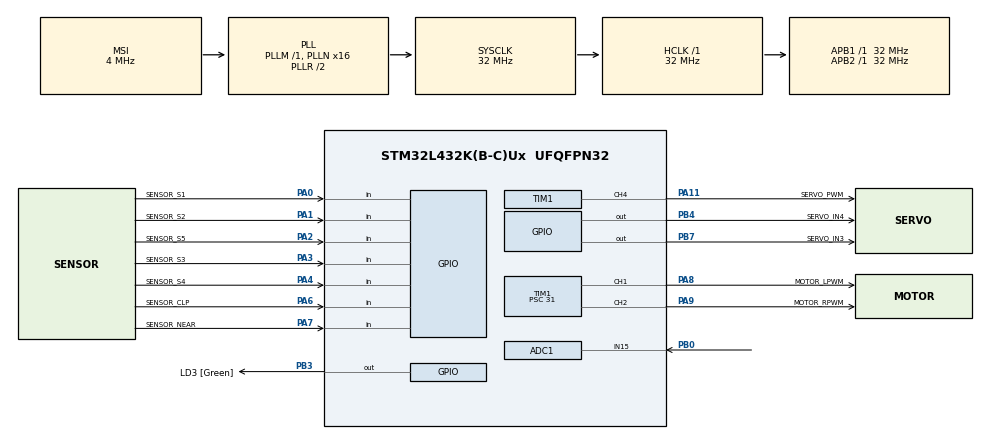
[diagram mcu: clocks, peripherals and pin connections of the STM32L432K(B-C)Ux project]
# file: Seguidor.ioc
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ADC1.Channel-1\#ChannelRegularConversion=ADC_CHANNEL_15
ADC1.DMAContinuousRequests=ENABLE
ADC1.ExternalTrigConv=ADC_EXTERNALTRIG_T2_TRGO
ADC1.NbrOfConversionFlag=1
ADC1.OffsetNumber-1\#ChannelRegularConversion=ADC_OFFSET_NONE
ADC1.Rank-1\#ChannelRegularConversion=1
ADC1.SamplingTime-1\#ChannelRegularConversion=ADC_SAMPLETIME_24CYCLES_5
ADC1.master=1
Dma.ADC1.0.Direction=DMA_PERIPH_TO_MEMORY
Dma.ADC1.0.Instance=DMA1_Channel1
Dma.ADC1.0.MemDataAlignment=DMA_MDATAALIGN_HALFWORD
Dma.ADC1.0.MemInc=DMA_MINC_ENABLE
Dma.ADC1.0.Mode=DMA_CIRCULAR
Dma.ADC1.0.PeriphDataAlignment=DMA_PDATAALIGN_HALFWORD
Dma.ADC1.0.PeriphInc=DMA_PINC_DISABLE
Dma.ADC1.0.Priority=DMA_PRIORITY_LOW
Dma.Request0=ADC1
Mcu.Family=STM32L4
Mcu.Name=STM32L432K(B-C)Ux
Mcu.Package=UFQFPN32
NVIC.DMA1_Channel1_IRQn=true\:0\:0\:false\:false\:true\:false\:true\:true
NVIC.PriorityGroup=NVIC_PRIORITYGROUP_4
PA0.GPIO_Label=SENSOR_S1
PA0.Signal=GPIO_Input
PA1.GPIO_Label=SENSOR_S2
PA1.Signal=GPIO_Input
PA11.GPIO_Label=SERVO_PWM
PA11.Signal=S_TIM1_CH4
PA13\ (JTMS-SWDIO).GPIO_Label=SWDIO
PA13\ (JTMS-SWDIO).Mode=Serial_Wire
PA13\ (JTMS-SWDIO).Signal=SYS_JTMS-SWDIO
PA14\ (JTCK-SWCLK).GPIO_Label=SWCLK
PA14\ (JTCK-SWCLK).Mode=Serial_Wire
PA14\ (JTCK-SWCLK).Signal=SYS_JTCK-SWCLK
PA15\ (JTDI).GPIO_Label=VCP_RX
PA15\ (JTDI).Signal=USART2_RX
PA2.GPIO_Label=SENSOR_S5
PA2.Signal=GPIO_Input
PA3.GPIO_Label=SENSOR_S3
PA3.Signal=GPIO_Input
PA4.GPIO_Label=SENSOR_S4
PA4.Signal=GPIO_Input
PA6.GPIO_Label=SENSOR_CLP
PA6.Signal=GPIO_Input
PA7.GPIO_Label=SENSOR_NEAR
PA7.Signal=GPIO_Input
PA8.GPIO_Label=MOTOR_LPWM
PA8.Signal=S_TIM1_CH1
PA9.GPIO_Label=MOTOR_RPWM
PA9.Signal=S_TIM1_CH2
PB0.Signal=ADCx_IN15
PB3\ (JTDO-TRACESWO).GPIO_Label=LD3 [Green]
PB3\ (JTDO-TRACESWO).Signal=GPIO_Output
PB4\ (NJTRST).GPIO_Label=SERVO_IN4
PB4\ (NJTRST).Signal=GPIO_Output
PB7.GPIO_Label=SERVO_IN3
PB7.Signal=GPIO_Output
PC14-OSC32_IN\ (PC14).Mode=LSE-External-Oscillator
PC14-OSC32_IN\ (PC14).Signal=RCC_OSC32_IN
PC15-OSC32_OUT\ (PC15).Mode=LSE-External-Oscillator
PC15-OSC32_OUT\ (PC15).Signal=RCC_OSC32_OUT
ProjectManager.HeapSize=0x200
ProjectManager.StackSize=0x400
ProjectManager.TargetToolchain=STM32CubeIDE
RCC.ADCFreq_Value=32000000
RCC.AHBFreq_Value=32000000
RCC.APB1Freq_Value=32000000
RCC.APB1TimFreq_Value=32000000
RCC.APB2Freq_Value=32000000
RCC.APB2TimFreq_Value=32000000
RCC.CortexFreq_Value=32000000
RCC.HCLKFreq_Value=32000000
RCC.HSE_VALUE=8000000
RCC.HSI16_VALUE=16000000
RCC.HSI48_VALUE=48000000
RCC.HSI_VALUE=16000000
RCC.MSI_VALUE=4000000
RCC.PLLMUL=RCC_PLLMUL_4
RCC.PLLN=16
RCC.PLLSAI1N=16
RCC.SYSCLKFreq_VALUE=32000000
RCC.SYSCLKSource=RCC_SYSCLKSOURCE_PLLCLK
RCC.USBFreq_Value=32000000
RCC.VCOOutputFreq_Value=64000000
SH.ADCx_IN15.0=ADC1_IN15,IN15-Single-Ended
SH.S_TIM1_CH1.0=TIM1_CH1,PWM Generation1 CH1
SH.S_TIM1_CH2.0=TIM1_CH2,PWM Generation2 CH2
SH.S_TIM1_CH4.0=TIM1_CH4,PWM Generation4 CH4
TIM1.AutoReloadPreload=TIM_AUTORELOAD_PRELOAD_ENABLE
TIM1.Channel-PWM\ Generation1\ CH1=TIM_CHANNEL_1
TIM1.Channel-PWM\ Generation2\ CH2=TIM_CHANNEL_2
TIM1.Channel-PWM\ Generation4\ CH4=TIM_CHANNEL_4
TIM1.Period=1999
TIM1.Prescaler=31
TIM2.AutoReloadPreload=TIM_AUTORELOAD_PRELOAD_ENABLE
TIM2.Period=15999
TIM2.TIM_MasterOutputTrigger=TIM_TRGO_UPDATE
VP_TIM16_VS_ClockSourceINT.Mode=Enable_Timer
VP_TIM1_VS_ClockSourceINT.Mode=Internal
VP_TIM2_VS_ClockSourceINT.Mode=Internal
board=NUCLEO-L432KC

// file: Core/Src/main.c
/* USER CODE BEGIN Header */
// ... (seu header) ...
/* USER CODE END Header */
#include "main.h"

/* USER CODE BEGIN Includes */
// #include <stdio.h>
/* USER CODE END Includes */

/* USER CODE BEGIN PTD */
// Enumeration para a máquina de estados do nosso teste de motor
typedef enum {
    STATE_MOTOR_STOP_BEFORE_FWD,
    STATE_MOTOR_RUNNING_FWD,
    STATE_MOTOR_STOP_BEFORE_REV,
    STATE_MOTOR_RUNNING_REV
} MotorTestState_t;
/* USER CODE END PTD */

/* USER CODE BEGIN PD */
#define ADC_DMA_BUFFER_LEN 1
#define MOTOR_TEST_INTERVAL_MS 5000 // Intervalo de 5 segundos para cada estado
/* USER CODE END PD */

ADC_HandleTypeDef hadc1;
DMA_HandleTypeDef hdma_adc1;

TIM_HandleTypeDef htim1;
TIM_HandleTypeDef htim2;
TIM_HandleTypeDef htim16;

/* USER CODE BEGIN PV */
volatile uint16_t adc_dma_buffer[ADC_DMA_BUFFER_LEN];
volatile uint32_t adc_value_snapshot;
volatile float voltage_snapshot;

// Variáveis para o estado dos sensores com a nova pinagem
volatile GPIO_PinState sensor_S1_state;   // PA0 (A0)
volatile GPIO_PinState sensor_S2_state;   // PA1 (A1)
volatile GPIO_PinState sensor_S3_state;   // PA3 (A2)
volatile GPIO_PinState sensor_S4_state;   // PA4 (A3)
volatile GPIO_PinState sensor_S5_state;   // PA5 (A4)
volatile GPIO_PinState sensor_CLP_state;  // PA6 (A5)
volatile GPIO_PinState sensor_NEAR_state; // PA2 (A7)
/* USER CODE END PV */

void SystemClock_Config(void);
static void MX_GPIO_Init(void);
static void MX_DMA_Init(void);
static void MX_ADC1_Init(void);
static void MX_TIM2_Init(void);
static void MX_TIM1_Init(void);
static void MX_TIM16_Init(void);

int main(void)
{

  /* USER CODE BEGIN 1 */
  // Inicia a máquina de estados em 'parado antes de ir para frente'
  MotorTestState_t motor_state = STATE_MOTOR_STOP_BEFORE_FWD;
  uint32_t motor_test_timer = 0;
  /* USER CODE END 1 */

  /* MCU Configuration--------------------------------------------------------*/

  /* Reset of all peripherals, Initializes the Flash interface and the Systick. */
  HAL_Init();

  /* Configure the system clock */
  SystemClock_Config();

  /* Initialize all configured peripherals */
  MX_GPIO_Init();
  MX_DMA_Init();
  MX_ADC1_Init();
  MX_TIM2_Init();
  MX_TIM1_Init();
  MX_TIM16_Init();
  /* USER CODE BEGIN 2 */
  // --- INÍCIO DA LEITURA ADC ---
  if (HAL_ADCEx_Calibration_Start(&hadc1, ADC_SINGLE_ENDED) != HAL_OK)
  {
    Error_Handler();
  }
  if (HAL_TIM_Base_Start(&htim2) != HAL_OK)
  {
    Error_Handler();
  }
  if (HAL_ADC_Start_DMA(&hadc1, (uint32_t*)adc_dma_buffer, ADC_DMA_BUFFER_LEN) != HAL_OK)
  {
    Error_Handler();
  }

  // --- INÍCIO DO CONTROLE DO MOTOR (BTS7960) ---
  // Inicia ambos os canais PWM do TIM1.
  if (HAL_TIM_PWM_Start(&htim1, TIM_CHANNEL_1) != HAL_OK) // Para LPWM (PA8)
  {
    Error_Handler();
  }
  if (HAL_TIM_PWM_Start(&htim1, TIM_CHANNEL_2) != HAL_OK) // Para RPWM (PA9)
  {
    Error_Handler();
  }

  motor_test_timer = HAL_GetTick(); // Inicia nosso timer de software
  /* USER CODE END 2 */

  /* Infinite loop */
  /* USER CODE BEGIN WHILE */
  while (1)
  {
    // --- LÓGICA DE TESTE DO MOTOR DE TRAÇÃO (BTS7960 com 2 PWMs) ---
    if (HAL_GetTick() - motor_test_timer >= MOTOR_TEST_INTERVAL_MS)
    {
        motor_test_timer = HAL_GetTick(); // Reseta o timer para o próximo intervalo de 5s

        switch (motor_state)
        {
            case STATE_MOTOR_STOP_BEFORE_FWD:
                // Estava parado, agora LIGA O MOTOR PARA FRENTE
                // Para girar para FRENTE: envia PWM para RPWM e 0 para LPWM
                __HAL_TIM_SET_COMPARE(&htim1, TIM_CHANNEL_1, 0);   // LPWM (PA8) = 0% duty cycle
                __HAL_TIM_SET_COMPARE(&htim1, TIM_CHANNEL_2, 300); // RPWM (PA9) = 25% duty cycle
                // Muda para o próximo estado
                motor_state = STATE_MOTOR_RUNNING_FWD;
                break;

            case STATE_MOTOR_RUNNING_FWD:
                // Estava indo para frente, agora PARA
                // Zera ambos os PWMs para parar o motor
                __HAL_TIM_SET_COMPARE(&htim1, TIM_CHANNEL_1, 0);   // LPWM = 0%
                __HAL_TIM_SET_COMPARE(&htim1, TIM_CHANNEL_2, 0);   // RPWM = 0%
                // Muda para o próximo estado
                motor_state = STATE_MOTOR_STOP_BEFORE_REV;
                break;

            case STATE_MOTOR_STOP_BEFORE_REV:
                // Estava parado, agora LIGA O MOTOR EM RÉ
                // Para girar em RÉ: envia PWM para LPWM e 0 para RPWM
                __HAL_TIM_SET_COMPARE(&htim1, TIM_CHANNEL_2, 0);   // RPWM (PA9) = 0% duty cycle
                __HAL_TIM_SET_COMPARE(&htim1, TIM_CHANNEL_1, 300); // LPWM (PA8) = 25% duty cycle
                // Muda para o próximo estado
                motor_state = STATE_MOTOR_RUNNING_REV;
                break;

            case STATE_MOTOR_RUNNING_REV:
                // Estava indo em ré, agora PARA
                // Zera ambos os PWMs para parar o motor
                __HAL_TIM_SET_COMPARE(&htim1, TIM_CHANNEL_1, 0);   // LPWM = 0%
                __HAL_TIM_SET_COMPARE(&htim1, TIM_CHANNEL_2, 0);   // RPWM = 0%
                // Muda para o próximo estado (volta ao início do ciclo)
                motor_state = STATE_MOTOR_STOP_BEFORE_FWD;
                break;
        }
    }

    // --- LEITURA CONTÍNUA DOS SENSORES E ADC (LÓGICA ATUALIZADA) ---
        adc_value_snapshot = adc_dma_buffer[0];
        voltage_snapshot = (adc_value_snapshot / 4095.0f) * 3.3f;

        // Leitura dos Sensores GPIO com a pinagem final e correta
            sensor_S1_state   = HAL_GPIO_ReadPin(GPIOA, GPIO_PIN_0); // S1 em A0 (PA0)
            sensor_S2_state   = HAL_GPIO_ReadPin(GPIOA, GPIO_PIN_1); // S2 em A1 (PA1)
            sensor_S3_state   = HAL_GPIO_ReadPin(GPIOA, GPIO_PIN_3); // S3 em A2 (PA3)
            sensor_S4_state   = HAL_GPIO_ReadPin(GPIOA, GPIO_PIN_4); // S4 em A3 (PA4)
            sensor_S5_state   = HAL_GPIO_ReadPin(GPIOA, GPIO_PIN_2); // S5 AGORA EM A7 (PA2)
            sensor_CLP_state  = HAL_GPIO_ReadPin(GPIOA, GPIO_PIN_6); // CLP em A5 (PA6)
            sensor_NEAR_state = HAL_GPIO_ReadPin(GPIOA, GPIO_PIN_7); // NEAR em A6 (PA7)

            // Delay para não sobrecarregar o debugger
                HAL_Delay(100);

    /* USER CODE END WHILE */

  }
}

void SystemClock_Config(void)
{
  RCC_OscInitTypeDef RCC_OscInitStruct = {0};
  RCC_ClkInitTypeDef RCC_ClkInitStruct = {0};

  /** Configure the main internal regulator output voltage
  */
  if (HAL_PWREx_ControlVoltageScaling(PWR_REGULATOR_VOLTAGE_SCALE1) != HAL_OK)
  {
    Error_Handler();
  }

  /** Configure LSE Drive Capability
  */
  HAL_PWR_EnableBkUpAccess();
  __HAL_RCC_LSEDRIVE_CONFIG(RCC_LSEDRIVE_LOW);

  /** Initializes the RCC Oscillators according to the specified parameters
  * in the RCC_OscInitTypeDef structure.
  */
  RCC_OscInitStruct.OscillatorType = RCC_OSCILLATORTYPE_LSE|RCC_OSCILLATORTYPE_MSI;
  RCC_OscInitStruct.LSEState = RCC_LSE_ON;
  RCC_OscInitStruct.MSIState = RCC_MSI_ON;
  RCC_OscInitStruct.MSICalibrationValue = 0;
  RCC_OscInitStruct.MSIClockRange = RCC_MSIRANGE_6;
  RCC_OscInitStruct.PLL.PLLState = RCC_PLL_ON;
  RCC_OscInitStruct.PLL.PLLSource = RCC_PLLSOURCE_MSI;
  RCC_OscInitStruct.PLL.PLLM = 1;
  RCC_OscInitStruct.PLL.PLLN = 16;
  RCC_OscInitStruct.PLL.PLLP = RCC_PLLP_DIV7;
  RCC_OscInitStruct.PLL.PLLQ = RCC_PLLQ_DIV2;
  RCC_OscInitStruct.PLL.PLLR = RCC_PLLR_DIV2;
  if (HAL_RCC_OscConfig(&RCC_OscInitStruct) != HAL_OK)
  {
    Error_Handler();
  }

  /** Initializes the CPU, AHB and APB buses clocks
  */
  RCC_ClkInitStruct.ClockType = RCC_CLOCKTYPE_HCLK|RCC_CLOCKTYPE_SYSCLK
                              |RCC_CLOCKTYPE_PCLK1|RCC_CLOCKTYPE_PCLK2;
  RCC_ClkInitStruct.SYSCLKSource = RCC_SYSCLKSOURCE_PLLCLK;
  RCC_ClkInitStruct.AHBCLKDivider = RCC_SYSCLK_DIV1;
  RCC_ClkInitStruct.APB1CLKDivider = RCC_HCLK_DIV1;
  RCC_ClkInitStruct.APB2CLKDivider = RCC_HCLK_DIV1;

  if (HAL_RCC_ClockConfig(&RCC_ClkInitStruct, FLASH_LATENCY_1) != HAL_OK)
  {
    Error_Handler();
  }

  /** Enable MSI Auto calibration
  */
  HAL_RCCEx_EnableMSIPLLMode();
}

static void MX_ADC1_Init(void)
{

  ADC_ChannelConfTypeDef sConfig = {0};

  /** Common config
  */
  hadc1.Instance = ADC1;
  hadc1.Init.ClockPrescaler = ADC_CLOCK_ASYNC_DIV1;
  hadc1.Init.Resolution = ADC_RESOLUTION_12B;
  hadc1.Init.DataAlign = ADC_DATAALIGN_RIGHT;
  hadc1.Init.ScanConvMode = ADC_SCAN_DISABLE;
  hadc1.Init.EOCSelection = ADC_EOC_SINGLE_CONV;
  hadc1.Init.LowPowerAutoWait = DISABLE;
  hadc1.Init.ContinuousConvMode = DISABLE;
  hadc1.Init.NbrOfConversion = 1;
  hadc1.Init.DiscontinuousConvMode = DISABLE;
  hadc1.Init.ExternalTrigConv = ADC_EXTERNALTRIG_T2_TRGO;
  hadc1.Init.ExternalTrigConvEdge = ADC_EXTERNALTRIGCONVEDGE_RISING;
  hadc1.Init.DMAContinuousRequests = ENABLE;
  hadc1.Init.Overrun = ADC_OVR_DATA_PRESERVED;
  hadc1.Init.OversamplingMode = DISABLE;
  if (HAL_ADC_Init(&hadc1) != HAL_OK)
  {
    Error_Handler();
  }

  /** Configure Regular Channel
  */
  sConfig.Channel = ADC_CHANNEL_15;
  sConfig.Rank = ADC_REGULAR_RANK_1;
  sConfig.SamplingTime = ADC_SAMPLETIME_24CYCLES_5;
  sConfig.SingleDiff = ADC_SINGLE_ENDED;
  sConfig.OffsetNumber = ADC_OFFSET_NONE;
  sConfig.Offset = 0;
  if (HAL_ADC_ConfigChannel(&hadc1, &sConfig) != HAL_OK)
  {
    Error_Handler();
  }

}

static void MX_TIM1_Init(void)
{

  TIM_ClockConfigTypeDef sClockSourceConfig = {0};
  TIM_MasterConfigTypeDef sMasterConfig = {0};
  TIM_OC_InitTypeDef sConfigOC = {0};
  TIM_BreakDeadTimeConfigTypeDef sBreakDeadTimeConfig = {0};

  htim1.Instance = TIM1;
  htim1.Init.Prescaler = 31;
  htim1.Init.CounterMode = TIM_COUNTERMODE_UP;
  htim1.Init.Period = 1999;
  htim1.Init.ClockDivision = TIM_CLOCKDIVISION_DIV1;
  htim1.Init.RepetitionCounter = 0;
  htim1.Init.AutoReloadPreload = TIM_AUTORELOAD_PRELOAD_ENABLE;
  if (HAL_TIM_Base_Init(&htim1) != HAL_OK)
  {
    Error_Handler();
  }
  sClockSourceConfig.ClockSource = TIM_CLOCKSOURCE_INTERNAL;
  if (HAL_TIM_ConfigClockSource(&htim1, &sClockSourceConfig) != HAL_OK)
  {
    Error_Handler();
  }
  if (HAL_TIM_PWM_Init(&htim1) != HAL_OK)
  {
    Error_Handler();
  }
  sMasterConfig.MasterOutputTrigger = TIM_TRGO_RESET;
  sMasterConfig.MasterOutputTrigger2 = TIM_TRGO2_RESET;
  sMasterConfig.MasterSlaveMode = TIM_MASTERSLAVEMODE_DISABLE;
  if (HAL_TIMEx_MasterConfigSynchronization(&htim1, &sMasterConfig) != HAL_OK)
  {
    Error_Handler();
  }
  sConfigOC.OCMode = TIM_OCMODE_PWM1;
  sConfigOC.Pulse = 0;
  sConfigOC.OCPolarity = TIM_OCPOLARITY_HIGH;
  sConfigOC.OCNPolarity = TIM_OCNPOLARITY_HIGH;
  sConfigOC.OCFastMode = TIM_OCFAST_DISABLE;
  sConfigOC.OCIdleState = TIM_OCIDLESTATE_RESET;
  sConfigOC.OCNIdleState = TIM_OCNIDLESTATE_RESET;
  if (HAL_TIM_PWM_ConfigChannel(&htim1, &sConfigOC, TIM_CHANNEL_1) != HAL_OK)
  {
    Error_Handler();
  }
  if (HAL_TIM_PWM_ConfigChannel(&htim1, &sConfigOC, TIM_CHANNEL_2) != HAL_OK)
  {
    Error_Handler();
  }
  if (HAL_TIM_PWM_ConfigChannel(&htim1, &sConfigOC, TIM_CHANNEL_4) != HAL_OK)
  {
    Error_Handler();
  }
  sBreakDeadTimeConfig.OffStateRunMode = TIM_OSSR_DISABLE;
  sBreakDeadTimeConfig.OffStateIDLEMode = TIM_OSSI_DISABLE;
  sBreakDeadTimeConfig.LockLevel = TIM_LOCKLEVEL_OFF;
  sBreakDeadTimeConfig.DeadTime = 0;
  sBreakDeadTimeConfig.BreakState = TIM_BREAK_DISABLE;
  sBreakDeadTimeConfig.BreakPolarity = TIM_BREAKPOLARITY_HIGH;
  sBreakDeadTimeConfig.BreakFilter = 0;
  sBreakDeadTimeConfig.Break2State = TIM_BREAK2_DISABLE;
  sBreakDeadTimeConfig.Break2Polarity = TIM_BREAK2POLARITY_HIGH;
  sBreakDeadTimeConfig.Break2Filter = 0;
  sBreakDeadTimeConfig.AutomaticOutput = TIM_AUTOMATICOUTPUT_DISABLE;
  if (HAL_TIMEx_ConfigBreakDeadTime(&htim1, &sBreakDeadTimeConfig) != HAL_OK)
  {
    Error_Handler();
  }
  HAL_TIM_MspPostInit(&htim1);

}

static void MX_TIM2_Init(void)
{

  TIM_ClockConfigTypeDef sClockSourceConfig = {0};
  TIM_MasterConfigTypeDef sMasterConfig = {0};

  htim2.Instance = TIM2;
  htim2.Init.Prescaler = 0;
  htim2.Init.CounterMode = TIM_COUNTERMODE_UP;
  htim2.Init.Period = 15999;
  htim2.Init.ClockDivision = TIM_CLOCKDIVISION_DIV1;
  htim2.Init.AutoReloadPreload = TIM_AUTORELOAD_PRELOAD_ENABLE;
  if (HAL_TIM_Base_Init(&htim2) != HAL_OK)
  {
    Error_Handler();
  }
  sClockSourceConfig.ClockSource = TIM_CLOCKSOURCE_INTERNAL;
  if (HAL_TIM_ConfigClockSource(&htim2, &sClockSourceConfig) != HAL_OK)
  {
    Error_Handler();
  }
  sMasterConfig.MasterOutputTrigger = TIM_TRGO_UPDATE;
  sMasterConfig.MasterSlaveMode = TIM_MASTERSLAVEMODE_DISABLE;
  if (HAL_TIMEx_MasterConfigSynchronization(&htim2, &sMasterConfig) != HAL_OK)
  {
    Error_Handler();
  }

}

static void MX_TIM16_Init(void)
{

  htim16.Instance = TIM16;
  htim16.Init.Prescaler = 0;
  htim16.Init.CounterMode = TIM_COUNTERMODE_UP;
  htim16.Init.Period = 65535;
  htim16.Init.ClockDivision = TIM_CLOCKDIVISION_DIV1;
  htim16.Init.RepetitionCounter = 0;
  htim16.Init.AutoReloadPreload = TIM_AUTORELOAD_PRELOAD_DISABLE;
  if (HAL_TIM_Base_Init(&htim16) != HAL_OK)
  {
    Error_Handler();
  }

}

static void MX_DMA_Init(void)
{

  /* DMA controller clock enable */
  __HAL_RCC_DMA1_CLK_ENABLE();

  /* DMA interrupt init */
  /* DMA1_Channel1_IRQn interrupt configuration */
  HAL_NVIC_SetPriority(DMA1_Channel1_IRQn, 0, 0);
  HAL_NVIC_EnableIRQ(DMA1_Channel1_IRQn);

}

static void MX_GPIO_Init(void)
{
  GPIO_InitTypeDef GPIO_InitStruct = {0};

  /* GPIO Ports Clock Enable */
  __HAL_RCC_GPIOC_CLK_ENABLE();
  __HAL_RCC_GPIOA_CLK_ENABLE();
  __HAL_RCC_GPIOB_CLK_ENABLE();

  /*Configure GPIO pin Output Level */
  HAL_GPIO_WritePin(GPIOB, LD3_Pin|SERVO_IN4_Pin|SERVO_IN3_Pin, GPIO_PIN_RESET);

  /*Configure GPIO pins : SENSOR_S1_Pin SENSOR_S2_Pin SENSOR_S5_Pin SENSOR_S3_Pin
                           SENSOR_S4_Pin SENSOR_CLP_Pin SENSOR_NEAR_Pin */
  GPIO_InitStruct.Pin = SENSOR_S1_Pin|SENSOR_S2_Pin|SENSOR_S5_Pin|SENSOR_S3_Pin
                          |SENSOR_S4_Pin|SENSOR_CLP_Pin|SENSOR_NEAR_Pin;
  GPIO_InitStruct.Mode = GPIO_MODE_INPUT;
  GPIO_InitStruct.Pull = GPIO_NOPULL;
  HAL_GPIO_Init(GPIOA, &GPIO_InitStruct);

  /*Configure GPIO pin : VCP_RX_Pin */
  GPIO_InitStruct.Pin = VCP_RX_Pin;
  GPIO_InitStruct.Mode = GPIO_MODE_AF_PP;
  GPIO_InitStruct.Pull = GPIO_NOPULL;
  GPIO_InitStruct.Speed = GPIO_SPEED_FREQ_VERY_HIGH;
  GPIO_InitStruct.Alternate = GPIO_AF3_USART2;
  HAL_GPIO_Init(VCP_RX_GPIO_Port, &GPIO_InitStruct);

  /*Configure GPIO pins : LD3_Pin SERVO_IN4_Pin SERVO_IN3_Pin */
  GPIO_InitStruct.Pin = LD3_Pin|SERVO_IN4_Pin|SERVO_IN3_Pin;
  GPIO_InitStruct.Mode = GPIO_MODE_OUTPUT_PP;
  GPIO_InitStruct.Pull = GPIO_NOPULL;
  GPIO_InitStruct.Speed = GPIO_SPEED_FREQ_LOW;
  HAL_GPIO_Init(GPIOB, &GPIO_InitStruct);

  /* USER CODE BEGIN MX_GPIO_Init_2 */
  // Se o pino PA5 foi configurado para TIM2_CH1, essa configuração seria feita
  // na função HAL_TIM_MspPostInit ou HAL_TIM_PWM_MspInit.
  // Se você desabilitou o PWM no Canal 1 do TIM2 e o PA5 não tem mais essa função no CubeMX,
  // o CubeMX deve remover a inicialização do PA5 para TIM2_CH1.
  /* USER CODE END MX_GPIO_Init_2 */
}

void Error_Handler(void)
{
  __disable_irq();
  while (1)
  {
  }
}
